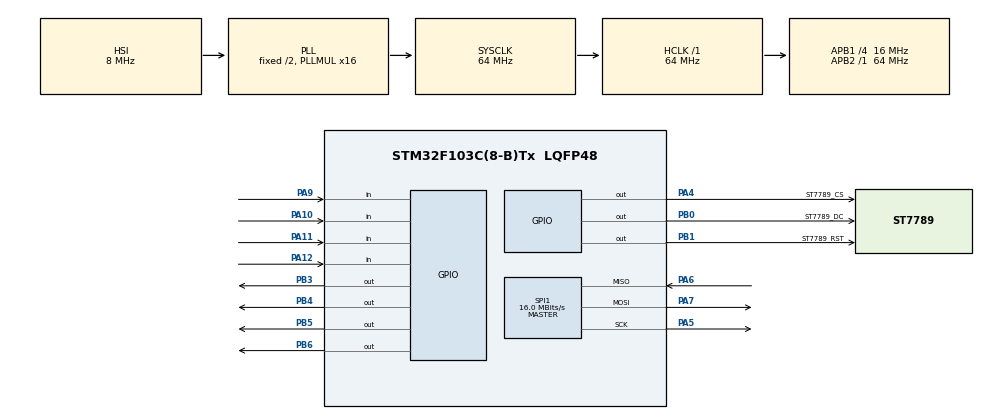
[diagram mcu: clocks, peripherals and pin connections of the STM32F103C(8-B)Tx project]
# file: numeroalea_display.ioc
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Mcu.Family=STM32F1
Mcu.Name=STM32F103C(8-B)Tx
Mcu.Package=LQFP48
NVIC.PriorityGroup=NVIC_PRIORITYGROUP_4
PA10.Signal=GPIO_Input
PA11.Signal=GPIO_Input
PA12.Signal=GPIO_Input
PA13.Mode=Serial_Wire
PA13.Signal=SYS_JTMS-SWDIO
PA14.Mode=Serial_Wire
PA14.Signal=SYS_JTCK-SWCLK
PA4.GPIO_Label=ST7789_CS
PA4.Signal=GPIO_Output
PA5.Mode=Full_Duplex_Master
PA5.Signal=SPI1_SCK
PA6.Mode=Full_Duplex_Master
PA6.Signal=SPI1_MISO
PA7.Mode=Full_Duplex_Master
PA7.Signal=SPI1_MOSI
PA9.Signal=GPIO_Input
PB0.GPIO_Label=ST7789_DC
PB0.Signal=GPIO_Output
PB1.GPIO_Label=ST7789_RST
PB1.Signal=GPIO_Output
PB3.Signal=GPIO_Output
PB4.Signal=GPIO_Output
PB5.Signal=GPIO_Output
PB6.Signal=GPIO_Output
ProjectManager.HeapSize=0x200
ProjectManager.StackSize=0x400
ProjectManager.TargetToolchain=STM32CubeIDE
RCC.AHBFreq_Value=64000000
RCC.APB1CLKDivider=RCC_HCLK_DIV4
RCC.APB1Freq_Value=16000000
RCC.APB1TimFreq_Value=32000000
RCC.APB2Freq_Value=64000000
RCC.APB2TimFreq_Value=64000000
RCC.HCLKFreq_Value=64000000
RCC.PLLMUL=RCC_PLL_MUL16
RCC.SYSCLKFreq_VALUE=64000000
RCC.SYSCLKSource=RCC_SYSCLKSOURCE_PLLCLK
RCC.USBFreq_Value=64000000
SPI1.BaudRatePrescaler=SPI_BAUDRATEPRESCALER_4
SPI1.CLKPolarity=SPI_POLARITY_HIGH
SPI1.CalculateBaudRate=16.0 MBits/s
SPI1.Direction=SPI_DIRECTION_2LINES
SPI1.Mode=SPI_MODE_MASTER
SPI1.VirtualType=VM_MASTER
board=custom

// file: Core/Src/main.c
/* USER CODE BEGIN Header */
/**
  ******************************************************************************
  * @file           : main.c
  * @brief          : Main program body
  ******************************************************************************
  * @attention
  *
  * <h2><center>&copy; Copyright (c) 2025 STMicroelectronics.
  * All rights reserved.</center></h2>
  *
  * This software component is licensed by ST under BSD 3-Clause license,
  * the "License"; You may not use this file except in compliance with the
  * License. You may obtain a copy of the License at:
  *                        opensource.org/licenses/BSD-3-Clause
  *
  ******************************************************************************
  */
/* USER CODE END Header */
#include "main.h"

/* USER CODE BEGIN Includes */
#include "ST7789\ST7789.h"
/* USER CODE END Includes */

SPI_HandleTypeDef hspi1;

/* USER CODE BEGIN PV */
short n=0,cont=0;
int nv[6]={0,0,0,0,0,0};
char po[12];
/* USER CODE END PV */

void SystemClock_Config(void);
static void MX_GPIO_Init(void);
static void MX_SPI1_Init(void);

int main(void)
{

  /* MCU Configuration--------------------------------------------------------*/

  /* Reset of all peripherals, Initializes the Flash interface and the Systick. */
  HAL_Init();

  /* Configure the system clock */
  SystemClock_Config();

  /* Initialize all configured peripherals */
  MX_GPIO_Init();
  MX_SPI1_Init();
  /* USER CODE BEGIN 2 */
  ST7789_Init();
  ST7789_Fill_Color(GREEN);
  /* USER CODE END 2 */

  /* Infinite loop */
  /* USER CODE BEGIN WHILE */
  while (1)
  {

	  int x= HAL_GPIO_ReadPin(GPIOA, GPIO_PIN_9);
	  if (x==0)
	  {
		  HAL_Delay(500);

	  	  while(n==nv[0] || n==nv[1] || n==nv[2] || n==nv[3] || n==nv[4] || n==nv[5])
	  	  {

	  		  n = (srand()%60)+1;
	  	  }

	  	  nv[cont]=n;
	  	  cont++;
	  	  HAL_Delay(500);

	  }

	  if(cont==6)
	  {
		  for (int i = 0; i < 6; i++)
		  {
			  itoa(nv[i], po, 10);
	 		  ST7789_WriteString(50, 50 + (i * 30), po, Font_16x26, WHITE, GREEN);
	 	 }

	  }
    /* USER CODE END WHILE */

  }
}

void SystemClock_Config(void)
{
  RCC_OscInitTypeDef RCC_OscInitStruct = {0};
  RCC_ClkInitTypeDef RCC_ClkInitStruct = {0};

  /** Initializes the RCC Oscillators according to the specified parameters
  * in the RCC_OscInitTypeDef structure.
  */
  RCC_OscInitStruct.OscillatorType = RCC_OSCILLATORTYPE_HSI;
  RCC_OscInitStruct.HSIState = RCC_HSI_ON;
  RCC_OscInitStruct.HSICalibrationValue = RCC_HSICALIBRATION_DEFAULT;
  RCC_OscInitStruct.PLL.PLLState = RCC_PLL_ON;
  RCC_OscInitStruct.PLL.PLLSource = RCC_PLLSOURCE_HSI_DIV2;
  RCC_OscInitStruct.PLL.PLLMUL = RCC_PLL_MUL16;
  if (HAL_RCC_OscConfig(&RCC_OscInitStruct) != HAL_OK)
  {
    Error_Handler();
  }
  /** Initializes the CPU, AHB and APB buses clocks
  */
  RCC_ClkInitStruct.ClockType = RCC_CLOCKTYPE_HCLK|RCC_CLOCKTYPE_SYSCLK
                              |RCC_CLOCKTYPE_PCLK1|RCC_CLOCKTYPE_PCLK2;
  RCC_ClkInitStruct.SYSCLKSource = RCC_SYSCLKSOURCE_PLLCLK;
  RCC_ClkInitStruct.AHBCLKDivider = RCC_SYSCLK_DIV1;
  RCC_ClkInitStruct.APB1CLKDivider = RCC_HCLK_DIV4;
  RCC_ClkInitStruct.APB2CLKDivider = RCC_HCLK_DIV1;

  if (HAL_RCC_ClockConfig(&RCC_ClkInitStruct, FLASH_LATENCY_2) != HAL_OK)
  {
    Error_Handler();
  }
}

static void MX_SPI1_Init(void)
{

  /* SPI1 parameter configuration*/
  hspi1.Instance = SPI1;
  hspi1.Init.Mode = SPI_MODE_MASTER;
  hspi1.Init.Direction = SPI_DIRECTION_2LINES;
  hspi1.Init.DataSize = SPI_DATASIZE_8BIT;
  hspi1.Init.CLKPolarity = SPI_POLARITY_HIGH;
  hspi1.Init.CLKPhase = SPI_PHASE_1EDGE;
  hspi1.Init.NSS = SPI_NSS_SOFT;
  hspi1.Init.BaudRatePrescaler = SPI_BAUDRATEPRESCALER_4;
  hspi1.Init.FirstBit = SPI_FIRSTBIT_MSB;
  hspi1.Init.TIMode = SPI_TIMODE_DISABLE;
  hspi1.Init.CRCCalculation = SPI_CRCCALCULATION_DISABLE;
  hspi1.Init.CRCPolynomial = 10;
  if (HAL_SPI_Init(&hspi1) != HAL_OK)
  {
    Error_Handler();
  }

}

static void MX_GPIO_Init(void)
{
  GPIO_InitTypeDef GPIO_InitStruct = {0};

  /* GPIO Ports Clock Enable */
  __HAL_RCC_GPIOA_CLK_ENABLE();
  __HAL_RCC_GPIOB_CLK_ENABLE();

  /*Configure GPIO pin Output Level */
  HAL_GPIO_WritePin(ST7789_CS_GPIO_Port, ST7789_CS_Pin, GPIO_PIN_RESET);

  /*Configure GPIO pin Output Level */
  HAL_GPIO_WritePin(GPIOB, ST7789_DC_Pin|ST7789_RST_Pin|GPIO_PIN_3|GPIO_PIN_4
                          |GPIO_PIN_5|GPIO_PIN_6, GPIO_PIN_RESET);

  /*Configure GPIO pin : ST7789_CS_Pin */
  GPIO_InitStruct.Pin = ST7789_CS_Pin;
  GPIO_InitStruct.Mode = GPIO_MODE_OUTPUT_PP;
  GPIO_InitStruct.Pull = GPIO_NOPULL;
  GPIO_InitStruct.Speed = GPIO_SPEED_FREQ_LOW;
  HAL_GPIO_Init(ST7789_CS_GPIO_Port, &GPIO_InitStruct);

  /*Configure GPIO pins : ST7789_DC_Pin ST7789_RST_Pin PB3 PB4
                           PB5 PB6 */
  GPIO_InitStruct.Pin = ST7789_DC_Pin|ST7789_RST_Pin|GPIO_PIN_3|GPIO_PIN_4
                          |GPIO_PIN_5|GPIO_PIN_6;
  GPIO_InitStruct.Mode = GPIO_MODE_OUTPUT_PP;
  GPIO_InitStruct.Pull = GPIO_NOPULL;
  GPIO_InitStruct.Speed = GPIO_SPEED_FREQ_LOW;
  HAL_GPIO_Init(GPIOB, &GPIO_InitStruct);

  /*Configure GPIO pins : PA9 PA10 PA11 PA12 */
  GPIO_InitStruct.Pin = GPIO_PIN_9|GPIO_PIN_10|GPIO_PIN_11|GPIO_PIN_12;
  GPIO_InitStruct.Mode = GPIO_MODE_INPUT;
  GPIO_InitStruct.Pull = GPIO_NOPULL;
  HAL_GPIO_Init(GPIOA, &GPIO_InitStruct);

}

void Error_Handler(void)
{
  __disable_irq();
  while (1)
  {
  }
}

/************************ (C) COPYRIGHT STMicroelectronics *****END OF FILE****/
